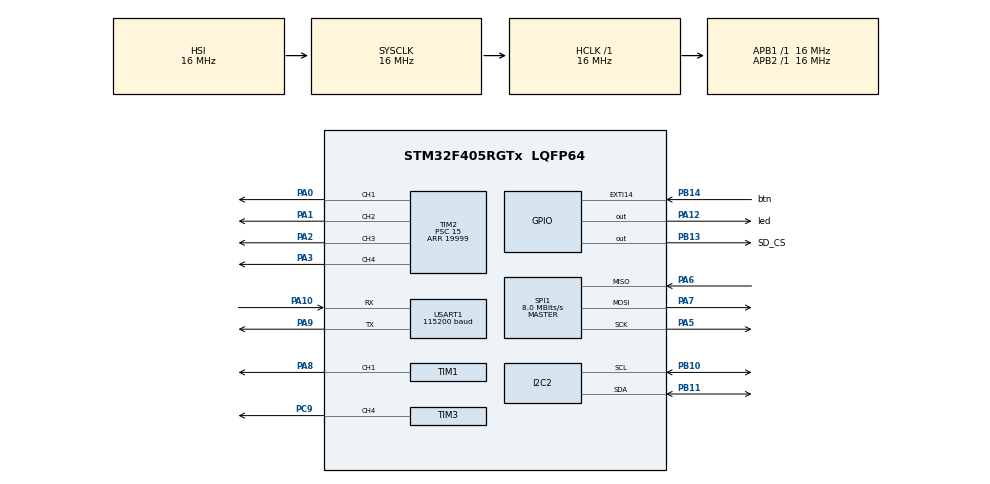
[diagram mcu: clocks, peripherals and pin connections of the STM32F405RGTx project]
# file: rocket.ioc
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ADC1.Channel-0\#ChannelRegularConversion=ADC_CHANNEL_VREFINT
ADC1.ContinuousConvMode=ENABLE
ADC1.NbrOfConversionFlag=1
ADC1.Rank-0\#ChannelRegularConversion=1
ADC1.SamplingTime-0\#ChannelRegularConversion=ADC_SAMPLETIME_3CYCLES
ADC1.master=1
Mcu.Family=STM32F4
Mcu.Name=STM32F405RGTx
Mcu.Package=LQFP64
NVIC.PriorityGroup=NVIC_PRIORITYGROUP_4
NVIC.TIM4_IRQn=true\:0\:0\:false\:false\:true\:true\:true\:true
NVIC.USART1_IRQn=true\:0\:0\:false\:false\:true\:true\:true\:true
PA0-WKUP.Signal=S_TIM2_CH1_ETR
PA1.Signal=S_TIM2_CH2
PA10.Mode=Asynchronous
PA10.Signal=USART1_RX
PA12.GPIO_Label=led
PA12.Signal=GPIO_Output
PA13.Mode=Trace_Asynchronous_SW
PA13.Signal=SYS_JTMS-SWDIO
PA14.Mode=Trace_Asynchronous_SW
PA14.Signal=SYS_JTCK-SWCLK
PA2.Signal=S_TIM2_CH3
PA3.Signal=S_TIM2_CH4
PA5.Mode=Full_Duplex_Master
PA5.Signal=SPI1_SCK
PA6.Mode=Full_Duplex_Master
PA6.Signal=SPI1_MISO
PA7.Mode=Full_Duplex_Master
PA7.Signal=SPI1_MOSI
PA8.Signal=S_TIM1_CH1
PA9.Mode=Asynchronous
PA9.Signal=USART1_TX
PB10.Mode=I2C
PB10.Signal=I2C2_SCL
PB11.Mode=I2C
PB11.Signal=I2C2_SDA
PB13.GPIO_Label=SD_CS
PB13.GPIO_PuPd=GPIO_PULLUP
PB13.Signal=GPIO_Output
PB14.GPIO_Label=btn
PB14.GPIO_ModeDefaultEXTI=GPIO_MODE_IT_FALLING
PB14.GPIO_PuPd=GPIO_PULLUP
PB14.Signal=GPXTI14
PB3.Mode=Trace_Asynchronous_SW
PB3.Signal=SYS_JTDO-SWO
PC9.Signal=S_TIM3_CH4
ProjectManager.HeapSize=0x200
ProjectManager.StackSize=0x400
ProjectManager.TargetToolchain=STM32CubeIDE
RCC.AHBFreq_Value=16000000
RCC.APB1Freq_Value=16000000
RCC.APB2Freq_Value=16000000
RCC.CortexFreq_Value=16000000
RCC.HSE_VALUE=25000000
RCC.HSI_VALUE=16000000
RCC.LSE_VALUE=32768
RCC.SYSCLKFreq_VALUE=16000000
RCC.VCOOutputFreq_Value=192000000
SH.S_TIM1_CH1.0=TIM1_CH1,PWM Generation1 CH1
SH.S_TIM2_CH1_ETR.0=TIM2_CH1,PWM Generation1 CH1
SH.S_TIM2_CH2.0=TIM2_CH2,PWM Generation2 CH2
SH.S_TIM2_CH3.0=TIM2_CH3,PWM Generation3 CH3
SH.S_TIM2_CH4.0=TIM2_CH4,PWM Generation4 CH4
SH.S_TIM3_CH4.0=TIM3_CH4,PWM Generation4 CH4
SPI1.CalculateBaudRate=8.0 MBits/s
SPI1.Direction=SPI_DIRECTION_2LINES
SPI1.Mode=SPI_MODE_MASTER
SPI1.VirtualType=VM_MASTER
TIM1.Channel-PWM\ Generation1\ CH1=TIM_CHANNEL_1
TIM1.Period=19999
TIM1.Prescaler=15
TIM1.Pulse-PWM\ Generation1\ CH1=0
TIM2.Channel-PWM\ Generation1\ CH1=TIM_CHANNEL_1
TIM2.Channel-PWM\ Generation2\ CH2=TIM_CHANNEL_2
TIM2.Channel-PWM\ Generation3\ CH3=TIM_CHANNEL_3
TIM2.Channel-PWM\ Generation4\ CH4=TIM_CHANNEL_4
TIM2.Period=19999
TIM2.Prescaler=15
TIM3.Channel-PWM\ Generation4\ CH4=TIM_CHANNEL_4
TIM3.Period=9999
TIM3.Prescaler=15
TIM4.Period=9999
TIM4.Prescaler=15
USART1.BaudRate=115200
USART1.VirtualMode=VM_ASYNC
VP_ADC1_Vref_Input.Mode=IN-Vrefint
VP_FATFS_VS_Generic.Mode=User_defined
VP_TIM1_VS_ClockSourceINT.Mode=Internal
VP_TIM2_VS_ClockSourceINT.Mode=Internal
VP_TIM3_VS_ClockSourceINT.Mode=Internal
VP_TIM4_VS_ClockSourceINT.Mode=Internal
board=custom

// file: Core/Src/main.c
/* USER CODE BEGIN Header */
/**
  ******************************************************************************
  * @file           : main.c
  * @brief          : Main program body
  ******************************************************************************
  * @attention
  *
  * Copyright (c) 2025 STMicroelectronics.
  * All rights reserved.
  *
  * This software is licensed under terms that can be found in the LICENSE file
  * in the root directory of this software component.
  * If no LICENSE file comes with this software, it is provided AS-IS.
  *
  ******************************************************************************
  */
/* USER CODE END Header */
#include "main.h"
#include "adc.h"
#include "fatfs.h"
#include "i2c.h"
#include "spi.h"
#include "tim.h"
#include "usart.h"
#include "gpio.h"

/* USER CODE BEGIN Includes */
#include <string.h>
#include <stdarg.h> //for va_list var arg functions
#include "sd.h"
/* USER CODE END Includes */

/* USER CODE BEGIN PD */
#define btn_time 200
/* USER CODE END PD */

/* USER CODE BEGIN PV */
struct Rocket rocket;
struct Atmosphere_param atmosphere;
struct Altitude altitude;
struct PID_zeros pid_zeros;
struct Accelerate accelerate;
struct Gyro gyro;
struct Radio radio;

struct GMedian gmedian_a[3];
struct GMedian gmedian_g[3];

struct GMedian gmedian_alt;

struct Angle angle;

struct Angle_velocity angle_velocity;

struct PID pid;

struct Test test;

//float Kp = 1;

//float Ki = 1;

//float Kd = 0;

char rx_buffer[100] = {0,};

uint8_t flag_irq = 0;
uint32_t time_irq = 0;

uint32_t time = 0;
//uint8_t counter = 0;
//float destination_a_f_m[3] = {0,};

bool PID_WORK = 0;

static float set_data[dimension_in] = {0,};

FATFS FatFs; 	//Fatfs handle
FIL fil; 		//File handle
FRESULT fres; //Result after operations
BYTE readBuf[30];
BYTE writeBuf[30];
UINT bytesWrote;

/* USER CODE END PV */

void SystemClock_Config(void);

/* USER CODE BEGIN 0 */
void start_blink_led(GPIO_TypeDef *GPIOx, uint16_t GPIO_Pin, uint16_t time){
	HAL_GPIO_WritePin(GPIOx, GPIO_Pin, GPIO_PIN_SET);
	HAL_Delay(time);
	HAL_GPIO_WritePin(GPIOx, GPIO_Pin, GPIO_PIN_RESET);

}

float tick_to_sec(uint32_t tick){
	return tick/(float)1000;
}

void myprintf(const char *fmt, ...) {
  static char buffer[256];
  va_list args;
  va_start(args, fmt);
  vsnprintf(buffer, sizeof(buffer), fmt, args);
  va_end(args);

  int len = strlen(buffer);
  HAL_UART_Transmit(&huart1, (uint8_t*)buffer, len, -1);

}

void activate_rescue_system(struct Test* test, struct Radio* radio){
	turn_srv(90);
	if(test->start_turn_flag == 0){
	  test->start_turn_time = HAL_GetTick();
	}
	test->start_turn_flag = 1;
	if(HAL_GetTick() - test->start_turn_time > 500){
	  radio->TEST_RESCUE_IS_OK = 0;
	  test->start_turn_flag = 0;
	  turn_srv(0);
	}
}

/* USER CODE END 0 */

int main(void)
{

  /* MCU Configuration--------------------------------------------------------*/

  /* Reset of all peripherals, Initializes the Flash interface and the Systick. */
  HAL_Init();

  /* Configure the system clock */
  SystemClock_Config();

  /* USER CODE BEGIN SysInit */
  __HAL_RCC_I2C1_CLK_ENABLE();
    HAL_Delay(100);
    __HAL_RCC_I2C1_FORCE_RESET();
    HAL_Delay(100);
    __HAL_RCC_I2C1_RELEASE_RESET();
    HAL_Delay(100);
  /* USER CODE END SysInit */

  /* Initialize all configured peripherals */
  MX_GPIO_Init();
  MX_USART1_UART_Init();
  MX_TIM2_Init();
  MX_TIM3_Init();
  MX_TIM1_Init();
  MX_ADC1_Init();
  MX_I2C2_Init();
  MX_SPI1_Init();
  MX_FATFS_Init();
  MX_TIM4_Init();
  /* USER CODE BEGIN 2 */
  HAL_UARTEx_ReceiveToIdle_IT(&huart1, (uint8_t *)&rx_buffer, 100);
  //HAL_ADCEx_Calibration_Start(&hadc1);

  HAL_ADC_Start(&hadc1);

  HAL_TIM_PWM_Start(&htim1, TIM_CHANNEL_1);

  HAL_TIM_PWM_Start(&htim2, TIM_CHANNEL_1);

  HAL_TIM_PWM_Start(&htim2, TIM_CHANNEL_2);

  HAL_TIM_PWM_Start(&htim2, TIM_CHANNEL_3);

  HAL_TIM_PWM_Start(&htim2, TIM_CHANNEL_4);

  HAL_TIM_PWM_Start(&htim3, TIM_CHANNEL_4);

  HAL_GPIO_WritePin(led_GPIO_Port, led_Pin, GPIO_PIN_SET);

  atmosphere_init(&atmosphere);

  rocket_init(&rocket, "1A", &altitude, &atmosphere, &accelerate, &angle, &angle_velocity);

  if (CheckFlashData()) {
	  ReadFromFlash(&rocket, &radio, &pid_zeros); // Чтение данных из Flash, если они корректны
  }
  else {
	  delta_init(&rocket);
	  radio_pid_init(&radio);
	  PID_zeros_init(&pid_zeros);
  }

  radio_init(&radio, &pid_zeros);

  angle_init(&angle);

  angle_velocity_init(&angle_velocity);

  PID_init(&pid);

  set_PID_coefficients(&pid, &radio);

  altitude_init(&rocket);

  rescue_system_init(TIM1);

  initGMedian(&gmedian_alt);

  for(int i = 0; i < 3; i++){
	  initGMedian(&(gmedian_a[i]));
	  initGMedian(&(gmedian_g[i]));
  }

  HAL_TIM_Base_Start_IT(&htim4);

  HAL_Delay(500);
  HAL_GPIO_WritePin(led_GPIO_Port, led_Pin, GPIO_PIN_RESET);
  HAL_Delay(200);
  start_blink_led(led_GPIO_Port, led_Pin, 200);
  /* USER CODE END 2 */

  /* Infinite loop */
  /* USER CODE BEGIN WHILE */
  while (1)
  {
	  get_inertia_measurement(&accelerate, &gyro);

	  filtered_inertia_measurement(&accelerate, &gyro,gmedian_a,gmedian_g);

	  get_inertia_measurement_mod(&accelerate, &gyro);

	  angle_calculate(&angle, &accelerate);

	  angle_velocity_calculate(&angle_velocity, &gyro);

	  get_altitude_measurement(&rocket);

	  filtered_altitude_measurement(&rocket, &gmedian_alt);

	  if((flag_irq && (HAL_GetTick() - time_irq) > btn_time) || radio.TEST_RESCUE_IS_OK){
		  if(!(test.start_turn_flag)){
			  init_control_system();
		  }
		  activate_rescue_system(&test, &radio);
	  }

	  fly_control(&rocket);

	  if(rocket.activate_point && (!rocket.rescue_worked)){
		 turn_servo(90);
		 rocket.rescue_worked = 1;
	  }
	  rocket.time = tick_to_sec(HAL_GetTick());
	  rocket.battery_voltage = get_mcu_voltage();

	  if(PID_WORK == true){
		  get_PID_out(&pid, &angle, &angle_velocity, set_data);
		  if(radio.CNTRL_IS_OK == true){
			  set_pwm(&pid, &radio, &rocket);			//Раскоментировать при стабильном уровне питания 5Вольт
		  }
		  PID_WORK = false;
	  }

	  if(HAL_GetTick() - time > Hz_to_ms(radio.frequency_data_transmission)){
		  time = HAL_GetTick();

		  transmit_data(&rocket, &radio);
	  }
    /* USER CODE END WHILE */

  }
}

void SystemClock_Config(void)
{
  RCC_OscInitTypeDef RCC_OscInitStruct = {0};
  RCC_ClkInitTypeDef RCC_ClkInitStruct = {0};

  /** Configure the main internal regulator output voltage
  */
  __HAL_RCC_PWR_CLK_ENABLE();
  __HAL_PWR_VOLTAGESCALING_CONFIG(PWR_REGULATOR_VOLTAGE_SCALE1);

  /** Initializes the RCC Oscillators according to the specified parameters
  * in the RCC_OscInitTypeDef structure.
  */
  RCC_OscInitStruct.OscillatorType = RCC_OSCILLATORTYPE_HSI;
  RCC_OscInitStruct.HSIState = RCC_HSI_ON;
  RCC_OscInitStruct.HSICalibrationValue = RCC_HSICALIBRATION_DEFAULT;
  RCC_OscInitStruct.PLL.PLLState = RCC_PLL_NONE;
  if (HAL_RCC_OscConfig(&RCC_OscInitStruct) != HAL_OK)
  {
    Error_Handler();
  }

  /** Initializes the CPU, AHB and APB buses clocks
  */
  RCC_ClkInitStruct.ClockType = RCC_CLOCKTYPE_HCLK|RCC_CLOCKTYPE_SYSCLK
                              |RCC_CLOCKTYPE_PCLK1|RCC_CLOCKTYPE_PCLK2;
  RCC_ClkInitStruct.SYSCLKSource = RCC_SYSCLKSOURCE_HSI;
  RCC_ClkInitStruct.AHBCLKDivider = RCC_SYSCLK_DIV1;
  RCC_ClkInitStruct.APB1CLKDivider = RCC_HCLK_DIV1;
  RCC_ClkInitStruct.APB2CLKDivider = RCC_HCLK_DIV1;

  if (HAL_RCC_ClockConfig(&RCC_ClkInitStruct, FLASH_LATENCY_0) != HAL_OK)
  {
    Error_Handler();
  }
}

/* USER CODE BEGIN 4 */
	void HAL_GPIO_EXTI_Callback(uint16_t GPIO_Pin){
		if(GPIO_Pin == btn_Pin){
		  HAL_NVIC_DisableIRQ(EXTI15_10_IRQn);  // сразу же отключаем прерывания на этом пине
		  flag_irq = 1;							//поднимаем флажок
		  time_irq = HAL_GetTick();				//запоминаем текущее время
		}
	}
/* USER CODE END 4 */

void Error_Handler(void)
{
  __disable_irq();
  while (1)
  {
  }
}
